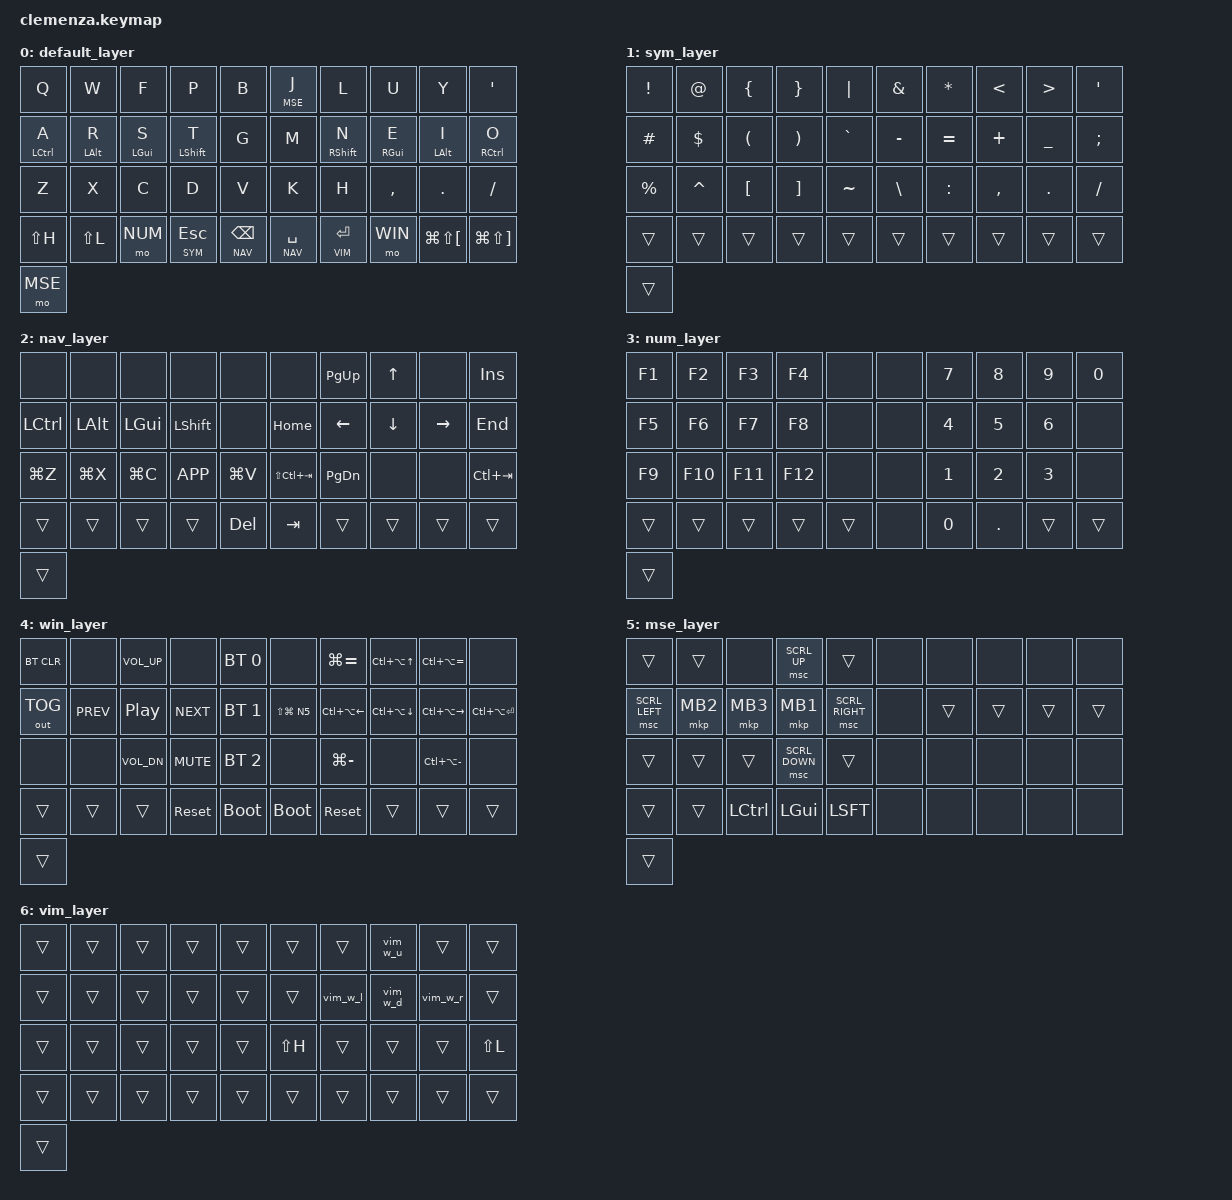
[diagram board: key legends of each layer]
#include <behaviors.dtsi>
#include <dt-bindings/zmk/keys.h>
#include <dt-bindings/zmk/bt.h>
#include <dt-bindings/zmk/mouse.h>
#include <dt-bindings/zmk/outputs.h>

#define DEFAULT 0
#define SYM     1
#define NAV     2
#define NUM     3
#define WIN     4
#define MSE     5
#define VIM     6

&lt {
  quick_tap_ms = <200>;
};

/ {

    behaviors {
        hml: home_row_mod_left {
            compatible = "zmk,behavior-hold-tap";
            #binding-cells = <2>;
            flavor = "balanced";
            require-prior-idle-ms = <150>;
            tapping-term-ms = <175>;
            quick-tap-ms = <200>;
            bindings = <&kp>, <&kp>;
            hold-trigger-key-positions = <
                 5  6  7  8  9
                15 16 17 18 19
                25 26 27 28 29
            >;
            hold-trigger-on-release;
        };
        hmr: home_row_mod_right {
            compatible = "zmk,behavior-hold-tap";
            #binding-cells = <2>;
            flavor = "balanced";
            require-prior-idle-ms = <150>;
            tapping-term-ms = <175>;
            quick-tap-ms = <200>;
            bindings = <&kp>, <&kp>;
            hold-trigger-key-positions = <
                 0  1  2  3  4
                10 11 12 13 14
                20 21 22 23 24
            >;
            hold-trigger-on-release;
        };
    };

    macros {
        vim_w_l: vim_w_l {
            compatible = "zmk,behavior-macro";
            #binding-cells = <0>;
            bindings
                = <&macro_press &kp LCTRL>
                , <&macro_tap &kp W>
                , <&macro_release &kp LCTRL>
                , <&macro_tap &kp H>
                ;
        };
        vim_w_d: vim_w_d {
            compatible = "zmk,behavior-macro";
            #binding-cells = <0>;
            bindings
                = <&macro_press &kp LCTRL>
                , <&macro_tap &kp W>
                , <&macro_release &kp LCTRL>
                , <&macro_tap &kp J>
                ;
        };
        vim_w_u: vim_w_u {
            compatible = "zmk,behavior-macro";
            #binding-cells = <0>;
            bindings
                = <&macro_press &kp LCTRL>
                , <&macro_tap &kp W>
                , <&macro_release &kp LCTRL>
                , <&macro_tap &kp K>
                ;
        };
        vim_w_r: vim_w_r {
            compatible = "zmk,behavior-macro";
            #binding-cells = <0>;
            bindings
                = <&macro_press &kp LCTRL>
                , <&macro_tap &kp W>
                , <&macro_release &kp LCTRL>
                , <&macro_tap &kp L>
                ;
        };
    };

    combos {
        compatible = "zmk,combos";

        combo_capsword {
              timeout-ms = <50>;
              key-positions = <13 16>;
              bindings = <&caps_word>;
        };
    };

    keymap {
        compatible = "zmk,keymap";

        default_layer {
/* COLEMAK DH
 *                                     --==   Clemenza   ==--
 * ,----------------------------------.                      ,----------------------------------.
 * |   Q  |   W  |   F  |   P  |   B  |                      |   J  |   L  |   U  |   Y  |   '  |
 * |------+------+------+------+------|                      |------+------+------+------+------|
 * |   A  |   R  |   S  |   T  |   G  |                      |   M  |   N  |   E  |   I  |   O  |
 * |------+------+------+------+------|                      |------+------+------+------+------|
 * |   Z  |   X  |   C  |   D  |   V  |                      |   K  |   H  |   ,  |   .  |   /  |
 * `----------------------------------'                      `----------------------------------'
   ,----------------------------------.                      ,----------------------------------.
 * |  ?   |   ?  | NUM  |  SYM |  NAV |                      | NAV  | VIM  | WIN  |  ?   |  ?   |
 * `----------------------------------'                      `----------------------------------'
 *                          ,---------.
 *                          |   MSE   |
 *                          `---------'
 */

            bindings = <
    &kp Q       &kp W       &kp F       &kp P       &kp B           &lt MSE J &kp L     &kp U       &kp Y       &kp SQT
    &hml LCTRL A &hml LALT R  &hml LGUI S  &hml LSHFT T &kp G        &kp M   &hmr RSHFT N &hmr RGUI E  &hmr LALT I  &hmr RCTRL O
    &kp Z       &kp X       &kp C       &kp D       &kp V           &kp K   &kp H       &kp COMMA   &kp DOT     &kp FSLH
    &kp LS(H)   &kp LS(L)   &mo NUM     &lt SYM ESC &lt NAV BSPC    &lt NAV SPACE &lt VIM ENTER &mo WIN &kp LG(LS(LBKT))  &kp LG(LS(RBKT))
    &mo MSE
            >;
        };

        sym_layer {
            bindings = <
    &kp EXCL    &kp AT    &kp LBRC &kp RBRC &kp PIPE        &kp AMPS  &kp ASTRK &kp LT    &kp GT    &kp SQT
    &kp HASH    &kp DLLR  &kp LPAR &kp RPAR &kp GRAVE       &kp MINUS &kp EQUAL &kp PLUS  &kp UNDER &kp SEMI
    &kp PRCNT   &kp CARET &kp LBKT &kp RBKT &kp TILDE       &kp BSLH  &kp COLON &kp COMMA &kp DOT   &kp FSLH
    &trans      &trans    &trans   &trans   &trans          &trans    &trans    &trans    &trans    &trans
    &trans
          >;
      };

        nav_layer {
            bindings = <
    &none     &none     &none     &none     &none         &none           &kp PG_UP &kp UP   &none     &kp INS
    &kp LCTRL &kp LALT  &kp LGUI  &kp LSHFT &none         &kp HOME        &kp LEFT  &kp DOWN &kp RIGHT &kp END
    &kp LG(Z) &kp LG(X) &kp LG(C) &kp K_APP &kp LG(V)     &kp LS(LC(TAB)) &kp PG_DN &none    &none     &kp LC(TAB)
    &trans    &trans    &trans    &trans    &kp DEL       &kp TAB         &trans    &trans   &trans    &trans
    &trans
            >;
      };

        num_layer {
            bindings = <
    &kp F1    &kp F2    &kp F3    &kp F4    &none         &none     &kp N7    &kp N8    &kp N9    &kp N0
    &kp F5    &kp F6    &kp F7    &kp F8    &none         &none     &kp N4    &kp N5    &kp N6    &none
    &kp F9    &kp F10   &kp F11   &kp F12   &none         &none     &kp N1    &kp N2    &kp N3    &none
    &trans    &trans    &trans    &trans    &trans        &none     &kp N0    &kp DOT   &trans    &trans
    &trans
           >;
      };
        win_layer {
            bindings = <
    &bt BT_CLR &none &kp C_VOL_UP &none &bt BT_SEL 0              &none  &kp LG(EQUAL) &kp LC(LA(UP)) &kp LC(LA(EQUAL)) &none
    &out OUT_TOG  &kp C_PREV &kp C_PP &kp C_NEXT &bt BT_SEL 1     &kp LS(LG( N5)) &kp LC(LA(LEFT)) &kp LC(LA(DOWN)) &kp LC(LA(RIGHT)) &kp LC(LA(RET))
    &none  &none  &kp C_VOL_DN &kp C_MUTE &bt BT_SEL 2            &none &kp LG(MINUS) &none &kp LC(LA(MINUS)) &none
    &trans &trans &trans &sys_reset &bootloader                   &bootloader &sys_reset &trans &trans &trans
    &trans
           >;
      };

        mse_layer {
            bindings = <
    &trans    &trans         &none       &msc SCRL_UP  &trans                &none    &none    &none    &none   &none
    &msc SCRL_LEFT &mkp MB2  &mkp MB3    &mkp MB1      &msc SCRL_RIGHT       &none    &trans   &trans   &trans  &trans
    &trans    &trans         &trans      &msc SCRL_DOWN &trans               &none    &none    &none    &none   &none
    &trans    &trans         &kp LCTRL   &kp LGUI      &kp LSFT              &none    &none    &none    &none   &none
    &trans
            >;
      };
        vim_layer {
            bindings = <
    &trans  &trans         &trans         &trans          &trans       &trans          &trans        &vim_w_u  &trans     &trans
    &trans  &trans         &trans         &trans          &trans       &trans          &vim_w_l      &vim_w_d  &vim_w_r   &trans
    &trans  &trans         &trans         &trans          &trans       &kp LS(H)       &trans        &trans    &trans     &kp LS(L)
    &trans  &trans         &trans         &trans          &trans       &trans          &trans        &trans    &trans     &trans
    &trans
            >;
      };
    };
};
